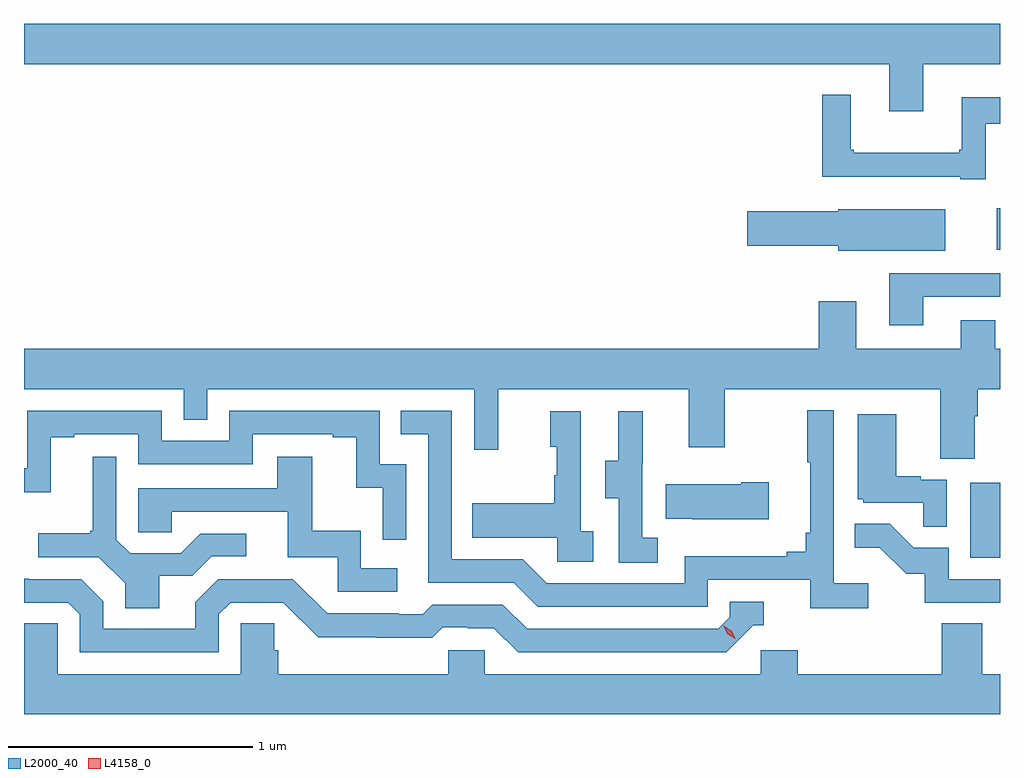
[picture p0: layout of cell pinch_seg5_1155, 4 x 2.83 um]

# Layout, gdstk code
import gdstk
lib = gdstk.Library(unit=1e-6, precision=1e-09)
def R(c, l, rs):  # rectangles x0, y0, x1, y1
    for r in rs: c.add(gdstk.rectangle(r[:2], r[2:], *l))
def P(c, l, *ps):  # polygons
    for p in ps: c.add(gdstk.Polygon(p, *l))
L2000_40 = (2000, 40)
L4158_0 = (4158, 0)

pinch_seg5_1155 = lib.new_cell('pinch_seg5_1155')
R(pinch_seg5_1155, L2000_40, [(880.868,845.412,880.989,845.719), (880.976,846.674,880.989,846.844)])
P(pinch_seg5_1155, L2000_40, [(880.675,847.436),(880.989,847.436),(880.989,847.6),(876.989,847.6),(876.989,847.436),(880.535,847.436),(880.535,847.242),(880.675,847.242)],
  [(880.93,847.191),(880.989,847.191),(880.989,847.3),(880.832,847.3),(880.832,847.084),(880.821,847.084),(880.821,847.072),(880.39,847.072),(880.39,847.084),(880.378,847.084),(880.378,847.309),(880.261,847.309),(880.261,846.974),(880.826,846.974),(880.826,846.963),(880.93,846.963)],
  [(880.765,846.841),(880.326,846.841),(880.326,846.833),(879.954,846.833),(879.954,846.691),(880.326,846.691),(880.326,846.671),(880.765,846.671)],
  [(880.675,846.483),(880.989,846.483),(880.989,846.579),(880.535,846.579),(880.535,846.366),(880.675,846.366)],
  [(880.885,845.992),(880.898,845.992),(880.898,846.104),(880.989,846.104),(880.989,846.268),(880.969,846.268),(880.969,846.385),(880.829,846.385),(880.829,846.268),(880.399,846.268),(880.399,846.463),(880.247,846.463),(880.247,846.268),(876.989,846.268),(876.989,846.104),(877.644,846.104),(877.644,845.977),(877.74,845.977),(877.74,846.104),(878.835,846.104),(878.835,845.856),(878.933,845.856),(878.933,846.104),(879.713,846.104),(879.713,845.865),(879.861,845.865),(879.861,846.104),(880.745,846.104),(880.745,845.818),(880.885,845.818)],
  [(880.45,845.308),(880.308,845.308),(880.308,846.016),(880.2,846.016),(880.2,845.803),(880.211,845.803),(880.211,845.515),(880.192,845.515),(880.192,845.438),(880.115,845.438),(880.115,845.419),(879.696,845.419),(879.696,845.307),(879.132,845.307),(879.033,845.406),(878.742,845.406),(878.742,846.015),(878.533,846.015),(878.533,845.919),(878.646,845.919),(878.646,845.31),(878.996,845.31),(879.095,845.211),(879.792,845.211),(879.792,845.322),(880.211,845.322),(880.211,845.206),(880.45,845.206)],
  [(878.556,845.796),(878.448,845.796),(878.448,846.015),(877.83,846.015),(877.83,845.892),(877.554,845.892),(877.554,846.015),(877.002,846.015),(877.002,845.779),(876.989,845.779),(876.989,845.681),(877.099,845.681),(877.099,845.907),(877.195,845.907),(877.195,845.919),(877.458,845.919),(877.458,845.796),(877.926,845.796),(877.926,845.919),(878.255,845.919),(878.255,845.907),(878.351,845.907),(878.351,845.699),(878.46,845.699),(878.46,845.487),(878.556,845.487)],
  [(879.586,845.495),(879.522,845.495),(879.522,845.799),(879.524,845.799),(879.524,846.013),(879.425,846.013),(879.425,845.811),(879.371,845.811),(879.371,845.656),(879.426,845.656),(879.426,845.392),(879.586,845.392)],
  [(879.322,845.522),(879.27,845.522),(879.27,846.013),(879.146,846.013),(879.146,845.868),(879.172,845.868),(879.172,845.75),(879.162,845.75),(879.162,845.635),(878.827,845.635),(878.827,845.495),(879.174,845.495),(879.174,845.397),(879.322,845.397)],
  [(880.77,845.733),(880.664,845.733),(880.664,845.746),(880.564,845.746),(880.564,846.001),(880.406,846.001),(880.406,845.652),(880.428,845.652),(880.428,845.637),(880.675,845.637),(880.675,845.539),(880.77,845.539)],
  [(877.543,845.338),(877.678,845.338),(877.758,845.418),(877.9,845.418),(877.9,845.511),(877.712,845.511),(877.631,845.43),(877.425,845.43),(877.368,845.487),(877.368,845.827),(877.271,845.827),(877.271,845.524),(877.26,845.524),(877.26,845.512),(877.047,845.512),(877.047,845.415),(877.296,845.415),(877.403,845.308),(877.403,845.206),(877.543,845.206)],
  [(878.518,845.37),(878.37,845.37),(878.37,845.524),(878.171,845.524),(878.171,845.827),(878.027,845.827),(878.027,845.697),(877.458,845.697),(877.458,845.517),(877.595,845.517),(877.595,845.601),(878.069,845.601),(878.069,845.415),(878.274,845.415),(878.274,845.274),(878.518,845.274)],
  [(880.042,845.721),(879.929,845.721),(879.929,845.713),(879.619,845.713),(879.619,845.573),(879.727,845.573),(879.727,845.57),(880.042,845.57)],
  [(880.989,845.325),(880.779,845.325),(880.779,845.454),(880.635,845.454),(880.537,845.552),(880.393,845.552),(880.393,845.453),(880.497,845.453),(880.604,845.346),(880.681,845.346),(880.681,845.229),(880.989,845.229)],
  [(877.788,845.181),(877.836,845.229),(878.052,845.229),(878.194,845.087),(878.43,845.087),(878.43,845.085),(878.663,845.085),(878.705,845.127),(878.808,845.127),(878.808,845.124),(878.915,845.124),(879.014,845.025),(879.867,845.025),(879.978,845.136),(880.021,845.136),(880.021,845.232),(879.882,845.232),(879.882,845.169),(879.834,845.121),(879.051,845.121),(878.952,845.22),(878.663,845.22),(878.624,845.181),(878.525,845.181),(878.525,845.184),(878.232,845.184),(878.091,845.325),(877.785,845.325),(877.691,845.231),(877.691,845.121),(877.314,845.121),(877.314,845.235),(877.224,845.325),(877.008,845.325),(877.008,845.327),(876.989,845.327),(876.989,845.229),(877.17,845.229),(877.218,845.181),(877.218,845.025),(877.788,845.025)],
  [(880.989,844.936),(880.916,844.936),(880.916,845.144),(880.751,845.144),(880.751,844.936),(880.16,844.936),(880.16,845.034),(880.008,845.034),(880.008,844.936),(878.877,844.936),(878.877,845.034),(878.727,845.034),(878.727,844.936),(878.03,844.936),(878.03,845.034),(878.015,845.034),(878.015,845.144),(877.878,845.144),(877.878,844.936),(877.128,844.936),(877.128,845.144),(876.989,845.144),(876.989,844.772),(880.989,844.772)])
P(pinch_seg5_1155, L4158_0, [(879.903,845.081),(879.872,845.1),(879.856,845.133),(879.856,845.133),(879.856,845.133),(879.887,845.114),(879.904,845.082),(879.904,845.081)])

lib.write_gds('pinch_seg5_1155.gds')
